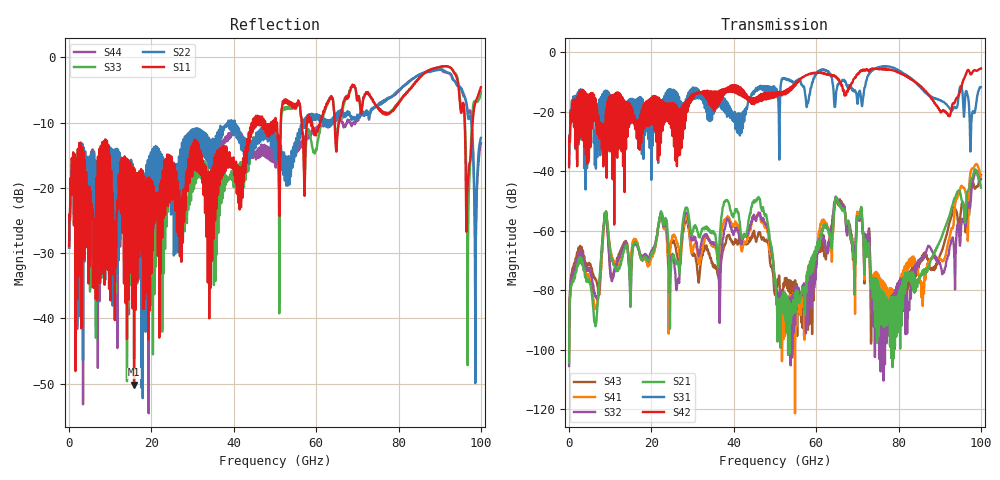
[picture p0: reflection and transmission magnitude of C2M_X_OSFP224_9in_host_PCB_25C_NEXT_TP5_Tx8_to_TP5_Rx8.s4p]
# GHz S RI R 45
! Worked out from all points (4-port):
!   4000 points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, 25 MHz to 100 GHz, reference 45 ohm
!   strongest paths, dB at 25 MHz, 25.02 GHz, 50.02 GHz, 75.03 GHz, 100 GHz:
!     S42: -38.6, -18.6, -13.7, -5.5, -5.4
!     S31: -37.7, -14.6, -12.1, -5.0, -11.6
!     S21: -104.4, -69.3, -77.4, -80.2, -45.4
!     S32: -105.4, -68.3, -78.3, -82.1, -42.6
!     S41: -100.8, -62.3, -77.2, -79.2, -42.4
!     S43: -92.2, -63.7, -81.5, -76.9, -41.2
!   lowest |S11| = -50.2 dB at 15.8 GHz (marker M1), VSWR 1.01, Z = 44.9 - j0.236 ohm
!   |S11| at or under -10 dB: start of sweep to 44.63 GHz; 59.03 GHz to 60.91 GHz (1.884 GHz wide, 3.14 % of centre); 96.08 GHz to 98 GHz (1.927 GHz wide, 1.99 % of centre) (the widest 3 of 20)
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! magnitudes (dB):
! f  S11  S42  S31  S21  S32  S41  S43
! 25 MHz  -28.9  -38.6  -37.7  -104.4  -105.4  -100.8  -92.2
! 15.8 GHz  -50.2  -21.6  -21.1  -64.1  -64.5  -62.7  -63.6
! 45.95 GHz  -10.3  -15.3  -12.6  -48.7  -54.0  -54.2  -60.8
! 56.42 GHz  -9.2  -8.7  -10.9  -80.8  -80.7  -84.7  -90.5
! 65.1 GHz  -12.4  -8.6  -11.7  -49.0  -49.4  -49.1  -50.4
! 85.75 GHz  -2.7  -11.9  -12.3  -74.6  -69.2  -78.7  -68.3
! 100 GHz  -4.6  -5.4  -11.6  -45.4  -42.6  -42.4  -41.2
